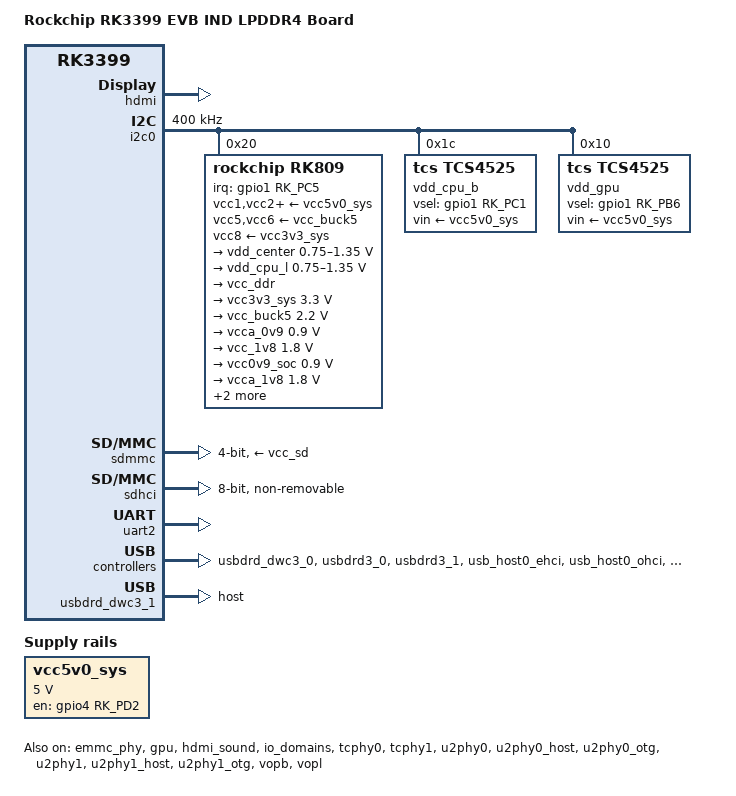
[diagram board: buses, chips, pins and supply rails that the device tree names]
// SPDX-License-Identifier: (GPL-2.0+ OR MIT)
/*
 * Copyright (c) 2025 Rockchip Electronics Co., Ltd.
 */

/dts-v1/;
#include "rk3399-base.dtsi"

/ {
	model = "Rockchip RK3399 EVB IND LPDDR4 Board";
	compatible = "rockchip,rk3399-evb-ind", "rockchip,rk3399";

	aliases {
		ethernet0 = &gmac;
		mmc0 = &sdhci;
		mmc1 = &sdmmc;
	};

	chosen {
		stdout-path = "serial2:1500000n8";
	};

	vcc5v0_sys: regulator-vcc5v0-sys {
		compatible = "regulator-fixed";
		enable-active-high;
		gpio = <&gpio4 RK_PD2 GPIO_ACTIVE_HIGH>;
		regulator-name = "vcc5v0_sys";
		regulator-always-on;
		regulator-boot-on;
		regulator-max-microvolt = <5000000>;
		regulator-min-microvolt = <5000000>;
	};
};

&cpu_l0 {
	cpu-supply = <&vdd_cpu_l>;
};

&cpu_l1 {
	cpu-supply = <&vdd_cpu_l>;
};

&cpu_l2 {
	cpu-supply = <&vdd_cpu_l>;
};

&cpu_l3 {
	cpu-supply = <&vdd_cpu_l>;
};

&cpu_b0 {
	cpu-supply = <&vdd_cpu_b>;
};

&cpu_b1 {
	cpu-supply = <&vdd_cpu_b>;
};

&emmc_phy {
	status = "okay";
};

&gpu {
	mali-supply = <&vdd_gpu>;
	status = "okay";
};

&hdmi {
	pinctrl-names = "default";
	pinctrl-0 = <&hdmi_i2c_xfer>, <&hdmi_cec>;
	status = "okay";
};

&hdmi_sound {
	status = "okay";
};

&i2c0 {
	clock-frequency = <400000>;
	i2c-scl-falling-time-ns = <4>;
	i2c-scl-rising-time-ns = <168>;
	status = "okay";

	rk809: pmic@20 {
		compatible = "rockchip,rk809";
		reg = <0x20>;
		interrupt-parent = <&gpio1>;
		interrupts = <RK_PC5 IRQ_TYPE_LEVEL_LOW>;
		pinctrl-names = "default";
		pinctrl-0 = <&pmic_int_l>;
		rockchip,system-power-controller;
		#clock-cells = <1>;
		pmic-reset-func = <0>;
		wakeup-source;
		clock-output-names = "xin32k", "rk808-clkout2";

		vcc1-supply = <&vcc5v0_sys>;
		vcc2-supply = <&vcc5v0_sys>;
		vcc3-supply = <&vcc5v0_sys>;
		vcc4-supply = <&vcc5v0_sys>;
		vcc5-supply = <&vcc_buck5>;
		vcc6-supply = <&vcc_buck5>;
		vcc7-supply = <&vcc5v0_sys>;
		vcc8-supply = <&vcc3v3_sys>;
		vcc9-supply = <&vcc5v0_sys>;

		regulators {
			vdd_center: DCDC_REG1 {
				regulator-always-on;
				regulator-boot-on;
				regulator-initial-mode = <0x2>;
				regulator-max-microvolt = <1350000>;
				regulator-min-microvolt = <750000>;
				regulator-ramp-delay = <6001>;
				regulator-name = "vdd_center";
				regulator-state-mem {
					regulator-off-in-suspend;
				};
			};

			vdd_cpu_l: DCDC_REG2 {
				regulator-always-on;
				regulator-boot-on;
				regulator-initial-mode = <0x2>;
				regulator-max-microvolt = <1350000>;
				regulator-min-microvolt = <750000>;
				regulator-ramp-delay = <6001>;
				regulator-name = "vdd_cpu_l";
				regulator-state-mem {
					regulator-off-in-suspend;
				};
			};

			vcc_ddr: DCDC_REG3 {
				regulator-always-on;
				regulator-boot-on;
				regulator-initial-mode = <0x2>;
				regulator-name = "vcc_ddr";
				regulator-state-mem {
					regulator-on-in-suspend;
				};
			};

			vcc3v3_sys: DCDC_REG4 {
				regulator-always-on;
				regulator-boot-on;
				regulator-initial-mode = <0x2>;
				regulator-max-microvolt = <3300000>;
				regulator-min-microvolt = <3300000>;
				regulator-name = "vcc3v3_sys";
				regulator-state-mem {
					regulator-on-in-suspend;
					regulator-suspend-microvolt = <3300000>;
				};
			};

			vcc_buck5: DCDC_REG5 {
				regulator-always-on;
				regulator-boot-on;
				regulator-max-microvolt = <2200000>;
				regulator-min-microvolt = <2200000>;
				regulator-name = "vcc_buck5";
				regulator-state-mem {
					regulator-on-in-suspend;
					regulator-suspend-microvolt = <2200000>;
				};
			};

			vcca_0v9: LDO_REG1 {
				regulator-always-on;
				regulator-boot-on;
				regulator-max-microvolt = <900000>;
				regulator-min-microvolt = <900000>;
				regulator-name = "vcca_0v9";
				regulator-state-mem {
					regulator-off-in-suspend;
				};
			};

			vcc_1v8: LDO_REG2 {
				regulator-always-on;
				regulator-boot-on;
				regulator-max-microvolt = <1800000>;
				regulator-min-microvolt = <1800000>;
				regulator-name = "vcc_1v8";
				regulator-state-mem {
					regulator-on-in-suspend;
					regulator-suspend-microvolt = <1800000>;
				};
			};

			vcc0v9_soc: LDO_REG3 {
				regulator-always-on;
				regulator-boot-on;
				regulator-max-microvolt = <900000>;
				regulator-min-microvolt = <900000>;
				regulator-name = "vcc0v9_soc";
				regulator-state-mem {
					regulator-on-in-suspend;
					regulator-suspend-microvolt = <900000>;
				};
			};

			vcca_1v8: LDO_REG4 {
				regulator-always-on;
				regulator-boot-on;
				regulator-max-microvolt = <1800000>;
				regulator-min-microvolt = <1800000>;
				regulator-name = "vcca_1v8";
				regulator-state-mem {
					regulator-off-in-suspend;
				};
			};

			vdd1v5_dvp: LDO_REG5 {
				regulator-always-on;
				regulator-boot-on;
				regulator-max-microvolt = <1500000>;
				regulator-min-microvolt = <1500000>;
				regulator-name = "vdd1v5_dvp";
				regulator-state-mem {
					regulator-off-in-suspend;
				};
			};

			vcc_1v5: LDO_REG6 {
				regulator-always-on;
				regulator-boot-on;
				regulator-max-microvolt = <1500000>;
				regulator-min-microvolt = <1500000>;
				regulator-name = "vcc_1v5";
				regulator-state-mem {
					regulator-off-in-suspend;
				};
			};

			vcc_3v0: LDO_REG7 {
				regulator-always-on;
				regulator-boot-on;
				regulator-max-microvolt = <3000000>;
				regulator-min-microvolt = <3000000>;
				regulator-name = "vcc_3v0";
				regulator-state-mem {
					regulator-off-in-suspend;
				};
			};

			vccio_sd: LDO_REG8 {
				regulator-always-on;
				regulator-boot-on;
				regulator-max-microvolt = <3300000>;
				regulator-min-microvolt = <1800000>;
				regulator-name = "vccio_sd";
				regulator-state-mem {
					regulator-off-in-suspend;
				};
			};

			vcc_sd: LDO_REG9 {
				regulator-always-on;
				regulator-boot-on;
				regulator-max-microvolt = <3300000>;
				regulator-min-microvolt = <3300000>;
				regulator-name = "vcc_sd";
				regulator-state-mem {
					regulator-off-in-suspend;
				};
			};

			vcc5v0_usb: SWITCH_REG1 {
				regulator-always-on;
				regulator-boot-on;
				regulator-name = "vcc5v0_usb";
				regulator-state-mem {
					regulator-on-in-suspend;
				};
			};

			vccio_3v3: SWITCH_REG2 {
				regulator-always-on;
				regulator-boot-on;
				regulator-name = "vccio_3v3";
				regulator-state-mem {
					regulator-off-in-suspend;
				};
			};
		};
	};

	vdd_cpu_b: tcs4525@1c {
		compatible = "tcs,tcs4525";
		reg = <0x1c>;
		pinctrl-names = "default";
		pinctrl-0 = <&vsel1_gpio>;
		fcs,suspend-voltage-selector = <1>;
		vin-supply = <&vcc5v0_sys>;
		vsel-gpios = <&gpio1 RK_PC1 GPIO_ACTIVE_HIGH>;
		regulator-compatible = "fan53555-reg";
		regulator-always-on;
		regulator-boot-on;
		regulator-initial-state = <3>;
		regulator-max-microvolt = <1500000>;
		regulator-min-microvolt = <712500>;
		regulator-name = "vdd_cpu_b";
		regulator-ramp-delay = <1000>;
		regulator-state-mem {
			regulator-off-in-suspend;
		};
	};

	vdd_gpu: tcs4526@10 {
		compatible = "tcs,tcs4525";
		reg = <0x10>;
		pinctrl-names = "default";
		pinctrl-0 = <&vsel2_gpio>;
		fcs,suspend-voltage-selector = <1>;
		vin-supply = <&vcc5v0_sys>;
		vsel-gpios = <&gpio1 RK_PB6 GPIO_ACTIVE_HIGH>;
		regulator-compatible = "fan53555-reg";
		regulator-always-on;
		regulator-boot-on;
		regulator-initial-state = <3>;
		regulator-max-microvolt = <1500000>;
		regulator-min-microvolt = <712500>;
		regulator-name = "vdd_gpu";
		regulator-ramp-delay = <1000>;
		regulator-state-mem {
			regulator-off-in-suspend;
		};
	};
};

&io_domains {
	audio-supply = <&vcca_1v8>;
	bt656-supply = <&vcc_3v0>;
	gpio1830-supply = <&vcc_3v0>;
	sdmmc-supply = <&vccio_sd>;
	status = "okay";
};

&sdmmc {
	bus-width = <4>;
	cap-mmc-highspeed;
	cap-sd-highspeed;
	disable-wp;
	no-sdio;
	no-mmc;
	pinctrl-names = "default";
	pinctrl-0 = <&sdmmc_clk &sdmmc_cmd &sdmmc_bus4>;
	sd-uhs-sdr104;
	vmmc-supply = <&vcc_sd>;
	vqmmc-supply = <&vccio_sd>;
	status = "okay";
};

&sdhci {
	bus-width = <8>;
	keep-power-in-suspend;
	mmc-hs400-1_8v;
	mmc-hs400-enhanced-strobe;
	no-sdio;
	no-sd;
	non-removable;
	status = "okay";
};

&tcphy0 {
	status = "okay";
};

&tcphy1 {
	status = "okay";
};

&u2phy0 {
	status = "okay";
};

&u2phy0_host {
	status = "okay";
};

&u2phy0_otg {
	status = "okay";
};

&u2phy1 {
	status = "okay";
};

&u2phy1_host {
	status = "okay";
};

&u2phy1_otg {
	status = "okay";
};

&uart2 {
	status = "okay";
};

&usbdrd_dwc3_0 {
	status = "okay";
};

&usbdrd3_0 {
	status = "okay";
};

&usbdrd3_1 {
	status = "okay";
};

&usbdrd_dwc3_1 {
	dr_mode = "host";
	status = "okay";
};

&usb_host0_ehci {
	status = "okay";
};

&usb_host0_ohci {
	status = "okay";
};

&usb_host1_ehci {
	status = "okay";
};

&usb_host1_ohci {
	status = "okay";
};

&pinctrl {
	pmic {
		pmic_int_l: pmic-int-l {
			rockchip,pins = <1 RK_PC5 RK_FUNC_GPIO &pcfg_pull_up>;
		};

		vsel1_gpio: vsel1-gpio {
			rockchip,pins = <1 RK_PC1 RK_FUNC_GPIO &pcfg_pull_down>;
		};

		vsel2_gpio: vsel2-gpio {
			rockchip,pins = <1 RK_PB6 RK_FUNC_GPIO &pcfg_pull_down>;
		};
	};
};

&vopb {
	status = "okay";
};

&vopb_mmu {
	status = "okay";
};

&vopl {
	status = "okay";
};

&vopl_mmu {
	status = "okay";
};
